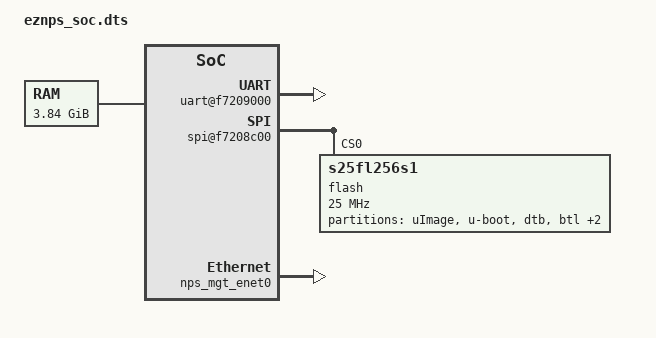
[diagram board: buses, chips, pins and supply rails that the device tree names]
/*
* Copyright (c) 2016, Mellanox Technologies. All rights reserved.
*
* This software is available to you under a choice of one of two
* licenses.  You may choose to be licensed under the terms of the GNU
* General Public License (GPL) Version 2, available from the file
* COPYING in the main directory of this source tree, or the
* OpenIB.org BSD license below:
*
*     Redistribution and use in source and binary forms, with or
*     without modification, are permitted provided that the following
*     conditions are met:
*
*      - Redistributions of source code must retain the above
*        copyright notice, this list of conditions and the following
*        disclaimer.
*
*      - Redistributions in binary form must reproduce the above
*        copyright notice, this list of conditions and the following
*        disclaimer in the documentation and/or other materials
*        provided with the distribution.
*
* THE SOFTWARE IS PROVIDED "AS IS", WITHOUT WARRANTY OF ANY KIND,
* EXPRESS OR IMPLIED, INCLUDING BUT NOT LIMITED TO THE WARRANTIES OF
* MERCHANTABILITY, FITNESS FOR A PARTICULAR PURPOSE AND
* NONINFRINGEMENT. IN NO EVENT SHALL THE AUTHORS OR COPYRIGHT HOLDERS
* BE LIABLE FOR ANY CLAIM, DAMAGES OR OTHER LIABILITY, WHETHER IN AN
* ACTION OF CONTRACT, TORT OR OTHERWISE, ARISING FROM, OUT OF OR IN
* CONNECTION WITH THE SOFTWARE OR THE USE OR OTHER DEALINGS IN THE
* SOFTWARE.
*/
/dts-v1/;

/include/ "skeleton.dtsi"

/ {
	compatible = "ezchip,arc-nps";
	clock-frequency = <800000000>;	/* 800 MHZ */
	#address-cells = <1>;
	#size-cells = <1>;
	interrupt-parent = <&intc>;
	present-cpus = "0-3,16-4095";
	possible-cpus = "0-3,16-4095";
	init-possible-as-present = <1>;

	aliases {
		ethernet0 = &nps_mgt_enet0;
	};
	
	chosen {
		bootargs = "earlycon=uart8250,mmio32be,0xf7209000,115200n8 console=ttyS0,115200n8";
	};

	memory {
		device_type = "memory";
		reg = <0x80000000 0x76000000 0x00000000 0x80000000>;    /* 1.88G, 2G */
	};
	
	clocks {
		sysclk: sysclk {
			compatible = "fixed-clock";
			#clock-cells = <0>;
			clock-frequency = <800000000>;
		};
	};
	
	
	fpga {
		compatible = "simple-bus";
		#address-cells = <1>;
		#size-cells = <1>;

		/* child and parent address space 1:1 mapped */
		ranges;

		intc: interrupt-controller {
			compatible = "ezchip,arc700-intc";
			interrupt-controller;
			#interrupt-cells = <1>;
		};

		uart@f7209000 {
			compatible = "snps,dw-apb-uart";
			device_type = "serial";
			reg = <0xf7209000 0x100>;
			interrupts = <6>;
			clock-frequency = <800000000>;
			baud = <115200>;
			reg-shift = <2>;
			reg-io-width = <4>;
			native-endian;
		};

		spi@f7208c00 {
			compatible = "snps,dw-apb-ssi";
			#address-cells = <1>;
			#size-cells = <0>;
			reg = <0xf7208c00 0x100>;
			interrupts = <0>;
			clocks = <&sysclk>;
			num-cs = <1>;
			
			flash@0 {
				#address-cells = <1>;
				#size-cells = <1>;
				compatible = "s25fl256s1";
				reg = <0>;
				spi-max-frequency = <25000000>;
				spi-cpol;
				spi-cpha;

				partition@0 {
					label = "uImage";
					reg = <0x000000 0xe70000>;
				};
	
				partition@1 {
					label = "u-boot";
					reg = <0xe70000 0x80000>;
				};
	
				partition@2 {
					label = "dtb";
					reg = <0xef0000 0x10000>;
				};
				
				partition@3 {
					label = "btl";
					reg = <0xf00000 0x80000>;
				};
				
				partition@4 {
					label = "btl-redundancy";
					reg = <0xf80000 0x70000>;
				};
				
				partition@5 {
					label = "u-boot-env";
					reg = <0xff0000 0x10000>;
				};
				
			};
		};
	
		nps_mgt_enet0: ethernet@f7470000 {
			compatible = "ezchip,nps-mgt-enet";
			reg = <0xf7070000 0x1940>;
			interrupts = <7>;
			/* Filled in by U-Boot */
			mac-address = [ 00 00 00 00 00 00 ];
		};

		wdt@f7200414 {
			compatible = "ezchip,nps-wdt";
			reg = <0xf7200414 0x18>;
			clock-frequency = <800000000>;
		};

		arcpmu0: pmu {
			compatible = "ezchip,nps-pct";
		};
	};
};
